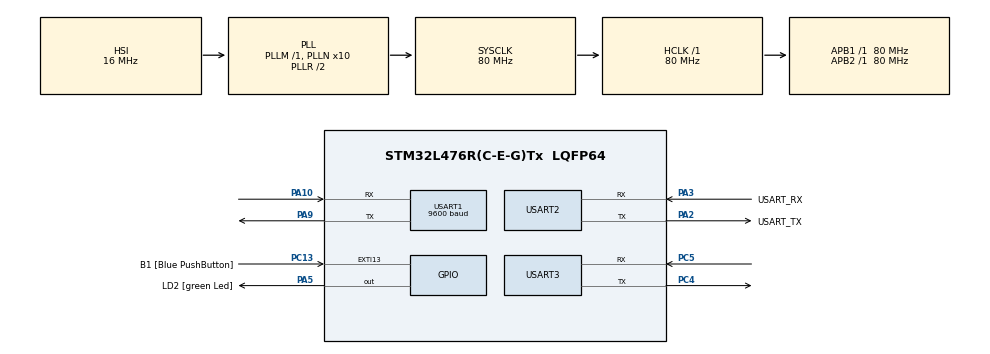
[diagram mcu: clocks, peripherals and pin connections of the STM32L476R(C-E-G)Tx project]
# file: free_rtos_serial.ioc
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FREERTOS.Tasks01=defaultTask,0,128,StartDefaultTask,Default,NULL,Dynamic,NULL,NULL
FREERTOS.configTOTAL_HEAP_SIZE=16384
FREERTOS.configUSE_NEWLIB_REENTRANT=1
Mcu.Family=STM32L4
Mcu.Name=STM32L476R(C-E-G)Tx
Mcu.Package=LQFP64
NVIC.PriorityGroup=NVIC_PRIORITYGROUP_4
NVIC.TIM1_UP_TIM16_IRQn=true\:15\:0\:false\:false\:true\:false\:false\:true\:true
NVIC.TimeBase=TIM1_UP_TIM16_IRQn
NVIC.TimeBaseIP=TIM1
NVIC.USART1_IRQn=true\:5\:0\:false\:false\:true\:true\:true\:true\:true
PA10.Mode=Asynchronous
PA10.Signal=USART1_RX
PA13\ (JTMS-SWDIO).GPIO_Label=TMS
PA13\ (JTMS-SWDIO).Mode=Serial_Wire
PA13\ (JTMS-SWDIO).Signal=SYS_JTMS-SWDIO
PA14\ (JTCK-SWCLK).GPIO_Label=TCK
PA14\ (JTCK-SWCLK).Mode=Serial_Wire
PA14\ (JTCK-SWCLK).Signal=SYS_JTCK-SWCLK
PA2.GPIO_Label=USART_TX
PA2.GPIO_Mode=GPIO_MODE_AF_PP
PA2.GPIO_PuPd=GPIO_NOPULL
PA2.GPIO_Speed=GPIO_SPEED_FREQ_VERY_HIGH
PA2.Mode=Asynchronous
PA2.Signal=USART2_TX
PA3.GPIO_Label=USART_RX
PA3.GPIO_Mode=GPIO_MODE_AF_PP
PA3.GPIO_PuPd=GPIO_NOPULL
PA3.GPIO_Speed=GPIO_SPEED_FREQ_VERY_HIGH
PA3.Mode=Asynchronous
PA3.Signal=USART2_RX
PA5.GPIO_Label=LD2 [green Led]
PA5.GPIO_ModeDefaultOutputPP=GPIO_MODE_OUTPUT_PP
PA5.GPIO_PuPd=GPIO_NOPULL
PA5.GPIO_Speed=GPIO_SPEED_FREQ_LOW
PA5.Signal=GPIO_Output
PA9.Mode=Asynchronous
PA9.Signal=USART1_TX
PB3\ (JTDO-TRACESWO).GPIO_Label=SWO
PB3\ (JTDO-TRACESWO).Signal=SYS_JTDO-SWO
PC13.GPIO_Label=B1 [Blue PushButton]
PC13.GPIO_ModeDefaultEXTI=GPIO_MODE_IT_FALLING
PC13.GPIO_PuPd=GPIO_NOPULL
PC13.Signal=GPXTI13
PC14-OSC32_IN\ (PC14).Mode=LSE-External-Oscillator
PC14-OSC32_IN\ (PC14).Signal=RCC_OSC32_IN
PC15-OSC32_OUT\ (PC15).Mode=LSE-External-Oscillator
PC15-OSC32_OUT\ (PC15).Signal=RCC_OSC32_OUT
PC4.Mode=Asynchronous
PC4.Signal=USART3_TX
PC5.Mode=Asynchronous
PC5.Signal=USART3_RX
PH0-OSC_IN\ (PH0).Signal=RCC_OSC_IN
PH1-OSC_OUT\ (PH1).Signal=RCC_OSC_OUT
ProjectManager.HeapSize=0x200
ProjectManager.StackSize=0x400
ProjectManager.TargetToolchain=STM32CubeIDE
RCC.ADCFreq_Value=64000000
RCC.AHBFreq_Value=80000000
RCC.APB1Freq_Value=80000000
RCC.APB1TimFreq_Value=80000000
RCC.APB2Freq_Value=80000000
RCC.APB2TimFreq_Value=80000000
RCC.CortexFreq_Value=80000000
RCC.HCLKFreq_Value=80000000
RCC.HSE_VALUE=8000000
RCC.HSI_VALUE=16000000
RCC.MSI_VALUE=4000000
RCC.PLLN=10
RCC.PLLSourceVirtual=RCC_PLLSOURCE_HSI
RCC.PREFETCH_ENABLE=1
RCC.SYSCLKFreq_VALUE=80000000
RCC.SYSCLKSource=RCC_SYSCLKSOURCE_PLLCLK
RCC.USBFreq_Value=64000000
RCC.VCOOutputFreq_Value=160000000
USART1.BaudRate=9600
USART1.VirtualMode-Asynchronous=VM_ASYNC
USART2.VirtualMode-Asynchronous=VM_ASYNC
USART3.VirtualMode-Asynchronous=VM_ASYNC
VP_FREERTOS_VS_CMSIS_V1.Mode=CMSIS_V1
VP_SYS_VS_tim1.Mode=TIM1
board=NUCLEO-L476RG

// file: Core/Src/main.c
/* USER CODE BEGIN Header */
/**
  ******************************************************************************
  * @file           : main.c
  * @brief          : Main program body
  ******************************************************************************
  * @attention
  *
  * Copyright (c) 2023 STMicroelectronics.
  * All rights reserved.
  *
  * This software is licensed under terms that can be found in the LICENSE file
  * in the root directory of this software component.
  * If no LICENSE file comes with this software, it is provided AS-IS.
  *
  ******************************************************************************
  */
/* USER CODE END Header */
#include "main.h"
#include "cmsis_os.h"
#include "usart.h"
#include "gpio.h"

void SystemClock_Config(void);
void MX_FREERTOS_Init(void);

int main(void)
{

  /* MCU Configuration--------------------------------------------------------*/

  /* Reset of all peripherals, Initializes the Flash interface and the Systick. */
  HAL_Init();

  /* Configure the system clock */
  SystemClock_Config();

  /* Initialize all configured peripherals */
  MX_GPIO_Init();
  MX_USART2_UART_Init();
  MX_USART1_UART_Init();
  MX_USART3_UART_Init();

  /* Call init function for freertos objects (in freertos.c) */
  MX_FREERTOS_Init();

  /* Start scheduler */
  osKernelStart();
  /* We should never get here as control is now taken by the scheduler */
  /* Infinite loop */
  while (1)
  {

  }
}

void SystemClock_Config(void)
{
  RCC_OscInitTypeDef RCC_OscInitStruct = {0};
  RCC_ClkInitTypeDef RCC_ClkInitStruct = {0};

  /** Configure the main internal regulator output voltage
  */
  if (HAL_PWREx_ControlVoltageScaling(PWR_REGULATOR_VOLTAGE_SCALE1) != HAL_OK)
  {
    Error_Handler();
  }

  /** Initializes the RCC Oscillators according to the specified parameters
  * in the RCC_OscInitTypeDef structure.
  */
  RCC_OscInitStruct.OscillatorType = RCC_OSCILLATORTYPE_HSI;
  RCC_OscInitStruct.HSIState = RCC_HSI_ON;
  RCC_OscInitStruct.HSICalibrationValue = RCC_HSICALIBRATION_DEFAULT;
  RCC_OscInitStruct.PLL.PLLState = RCC_PLL_ON;
  RCC_OscInitStruct.PLL.PLLSource = RCC_PLLSOURCE_HSI;
  RCC_OscInitStruct.PLL.PLLM = 1;
  RCC_OscInitStruct.PLL.PLLN = 10;
  RCC_OscInitStruct.PLL.PLLP = RCC_PLLP_DIV7;
  RCC_OscInitStruct.PLL.PLLQ = RCC_PLLQ_DIV2;
  RCC_OscInitStruct.PLL.PLLR = RCC_PLLR_DIV2;
  if (HAL_RCC_OscConfig(&RCC_OscInitStruct) != HAL_OK)
  {
    Error_Handler();
  }

  /** Initializes the CPU, AHB and APB buses clocks
  */
  RCC_ClkInitStruct.ClockType = RCC_CLOCKTYPE_HCLK|RCC_CLOCKTYPE_SYSCLK
                              |RCC_CLOCKTYPE_PCLK1|RCC_CLOCKTYPE_PCLK2;
  RCC_ClkInitStruct.SYSCLKSource = RCC_SYSCLKSOURCE_PLLCLK;
  RCC_ClkInitStruct.AHBCLKDivider = RCC_SYSCLK_DIV1;
  RCC_ClkInitStruct.APB1CLKDivider = RCC_HCLK_DIV1;
  RCC_ClkInitStruct.APB2CLKDivider = RCC_HCLK_DIV1;

  if (HAL_RCC_ClockConfig(&RCC_ClkInitStruct, FLASH_LATENCY_4) != HAL_OK)
  {
    Error_Handler();
  }
}

void HAL_TIM_PeriodElapsedCallback(TIM_HandleTypeDef *htim)
{
  if (htim->Instance == TIM1) {
    HAL_IncTick();
  }
}

void Error_Handler(void)
{
  __disable_irq();
  while (1)
  {
  }
}

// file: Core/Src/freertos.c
/* USER CODE BEGIN Header */
/**
  ******************************************************************************
  * File Name          : freertos.c
  * Description        : Code for freertos applications
  ******************************************************************************
  * @attention
  *
  * Copyright (c) 2023 STMicroelectronics.
  * All rights reserved.
  *
  * This software is licensed under terms that can be found in the LICENSE file
  * in the root directory of this software component.
  * If no LICENSE file comes with this software, it is provided AS-IS.
  *
  ******************************************************************************
  */
/* USER CODE END Header */

#include "FreeRTOS.h"
#include "task.h"
#include "main.h"
#include "cmsis_os.h"

/* USER CODE BEGIN Includes */
#include <stdio.h>
#include <stdlib.h>
#include <string.h>
#include "usart.h"
#include "gpio.h"
#include "gps.h"

#include "uartRingBuffer.h"
#include "NMEA.h"
/* USER CODE END Includes */

/* USER CODE BEGIN PD */
#define uart &huart1

#define TIMEOUT_DEF 500  // 500ms timeout for the functions
uint16_t timeout;
/* USER CODE END PD */

/* USER CODE BEGIN Variables */
uint8_t rx_data = 0;
uint8_t rx_buffer[GPSBUFSIZE];
uint8_t rx_index = 0;

GPSSTRUCT gpsData;

int flagGGA = 0, flagRMC = 0;
char nodeMCUBuffer [30];

int gpsEnabled = 0;

int VCCTimeout = 5000; // GGA or RMC will not be received if the VCC is not sufficient
/* USER CODE END Variables */
osThreadId defaultTaskHandle;

/* USER CODE BEGIN FunctionPrototypes */

char* int_to_string(int num) {

    char* str = malloc(sizeof(char)*4);

    sprintf(str, "%d\n\r", num);

    return str;

}

char* float_to_string(float num) {

    char* str = malloc(sizeof(char)*4);

    sprintf(str, "%f\n\r", num);

    return str;

}

void sendString(char * str, int uart_number){
	if(uart_number == 1)
		HAL_UART_Transmit(&huart1, (uint8_t *)str, strlen(str) ,HAL_MAX_DELAY );
	else if(uart_number == 2)
		HAL_UART_Transmit(&huart2, (uint8_t *)str, strlen(str) ,HAL_MAX_DELAY );
	else if(uart_number == 3)
		HAL_UART_Transmit(&huart3, (uint8_t *)str, strlen(str) ,HAL_MAX_DELAY );
}

void sendChar(unsigned char c, int uart_number){
	unsigned char pChar = c;
	if(uart_number == 1)
		HAL_UART_Transmit(&huart1, &pChar,1 ,HAL_MAX_DELAY );
	else if(uart_number == 2)
		HAL_UART_Transmit(&huart2, &pChar, 1,HAL_MAX_DELAY );
	else if(uart_number == 3)
		HAL_UART_Transmit(&huart3, &pChar, 1,HAL_MAX_DELAY );
}

char readChar(int uart_number){
	unsigned char caracter;

	if(uart_number == 1){
		while(HAL_UART_Receive(&huart1, &caracter, 1, HAL_MAX_DELAY) != HAL_OK);
	}
	else if(uart_number == 2){
		while(HAL_UART_Receive(&huart2, &caracter, 1, HAL_MAX_DELAY) != HAL_OK);
	}
	else if(uart_number == 3){
		while(HAL_UART_Receive(&huart3, &caracter, 1, HAL_MAX_DELAY) != HAL_OK);
	}
	return caracter;
}

void test_task( void *vParam){

	char *places[4] = {"-20.7000000,-45.3666667,\n", "-5.9500000,-43.0000000,\n",
			"-17.4333333,-44.8500000,\n", "3.7500000,-61.3500000,\n"};

	while(1){

		for (int i = 0; i < 4; i++) {

			if (gpsEnabled == 1) {

				sendString(places[i], 3);

			}

			vTaskDelay(3000);

		}

	}

}

void recebe_da_node_mcu(void *vParam){
	unsigned char caracter;
	vTaskDelay(100);
	while(1){
		//Aguarda receber um caracter da UART3 que esta conectada ao Node MCU
		while(HAL_UART_Receive(&huart3, &caracter, 1, HAL_MAX_DELAY) != HAL_OK);

		//Envia o caracter recebido para a UART 2 que está conectada ao terminal serial
		sendChar(caracter, 2);
		vTaskDelay(1);
	}
}

void envia_para_node_mcu( void *vParam){
	unsigned char caracter;

	while(1){
		//Aguarda receber um carcater do terminal serial
		caracter = readChar(2);
		//Envia o caracter para a UART 3 que está conectada a placa NodeMCU
		sendChar(caracter, 3);
		vTaskDelay(1);
	}
}

int GPS_validate(char *nmeastr){
    char check[3];
    char checkcalcstr[3];
    int i;
    int calculated_check;

    i=0;
    calculated_check=0;

    // check to ensure that the string starts with a $
    if(nmeastr[i] == '$')
        i++;
    else
        return 0;

    //No NULL reached, 75 char largest possible NMEA message, no '*' reached
    while((nmeastr[i] != 0) && (nmeastr[i] != '*') && (i < 75)){
        calculated_check ^= nmeastr[i];// calculate the checksum
        i++;
    }

    if(i >= 75){
        return 0;// the string was too long so return an error
    }

    if (nmeastr[i] == '*'){
        check[0] = nmeastr[i+1];    //put hex chars in check string
        check[1] = nmeastr[i+2];
        check[2] = 0;
    }
    else
        return 0;// no checksum separator found there for invalid

    sprintf(checkcalcstr,"%02X",calculated_check);
    return((checkcalcstr[0] == check[0])
        && (checkcalcstr[1] == check[1])) ? 1 : 0 ;
}

float GPS_nmea_to_dec(float deg_coord, char nsew) {
    int degree = (int)(deg_coord/100);
    float minutes = deg_coord - degree*100;
    float dec_deg = minutes / 60;
    float decimal = degree + dec_deg;
    if (nsew == 'S' || nsew == 'W') { // return negative
        decimal *= -1;
    }
    return decimal;
}

void GPS_parse(char *GPSstrParse){
    if(!strncmp(GPSstrParse, "$GPGGA", 6)){
//    	sendString("$GPGGA",2);
		VCCTimeout = 5000;  // Reset the VCC Timeout indicating the GGA is being received

//		Copy_upto("*", GGA);
		if (decodeGGA(GPSstrParse, &gpsData.ggastruct) == 0) flagGGA = 2;  // 2 indicates the data is valid
		else flagGGA = 1;  // 1 indicates the data is invalid
    }
    else if (!strncmp(GPSstrParse, "$GPRMC", 6)){
//    	sendString("$GPRMC",2);
		VCCTimeout = 5000;  // Reset the VCC Timeout indicating the RMC is being received

//		Copy_upto("*", RMC);
		if (decodeRMC(GPSstrParse, &gpsData.rmcstruct) == 0) flagRMC = 2;  // 2 indicates the data is valid
		else flagRMC = 1;  // 1 indicates the data is invalid
    }
}

void cli(void * vParam)
{
	while(1)
	{
//		0xFFFFFFFFU
//		sendChar('f', 2);
		while(HAL_UART_Receive(&huart1, &rx_data, 1, HAL_MAX_DELAY) != HAL_OK);
//		sendChar(rx_data, 2);
		if (rx_data != '\n' && rx_index < sizeof(rx_buffer)) {
			rx_buffer[rx_index++] = rx_data;
		} else {

			#if (GPS_DEBUG == 1)
			GPS_print((char*)rx_buffer);
			#endif

			if(GPS_validate((char*) rx_buffer)) {
				GPS_parse((char*) rx_buffer);
			}

			rx_index = 0;
			memset(rx_buffer, 0, sizeof(rx_buffer));
		}

		if ((flagGGA == 2) | (flagRMC == 2))
		{
			if (gpsEnabled == 1) {
				sprintf(nodeMCUBuffer,"%f,%f,\n", gpsData.ggastruct.lcation.latitude, gpsData.ggastruct.lcation.longitude);
				sendString(nodeMCUBuffer, 3);
			}

		}

		else if ((flagGGA == 1) | (flagRMC == 1))
		{
		  // Instead of clearing the display, it's better if we print spaces.
		  // This will avoid the "refreshing" part
		  sendString("   NO FIX YET   \n\r", 2);
		  sendString("   Please wait  \n\r", 2);
		}

		if (VCCTimeout <= 0)
		{
		  VCCTimeout = 5000;  // Reset the timeout

		  //reset flags
		  flagGGA =flagRMC =0;

		  // You are here means the VCC is less, or maybe there is some connection issue
		  // Check the VCC, also you can try connecting to the external 5V
		  sendString("    VCC Issue   \n\r",2);
		  sendString("Check Connection\n\r",2);
		}

//		vTaskDelay(500);
	}
}

void gpsEnabled_task(void * vParam)
{
	unsigned char flag;
	vTaskDelay(100);
	while(1){
		//Aguarda receber um caracter da UART3 que esta conectada ao Node MCU
		while(HAL_UART_Receive(&huart3, &flag, 1, HAL_MAX_DELAY) != HAL_OK);

		if (flag == '1') {
			gpsEnabled = 1;
			sendChar('v', 2);
		} else {
			gpsEnabled = 0;
			sendChar('f', 2);
		}

		vTaskDelay(1);
	}
}

/* USER CODE END FunctionPrototypes */

void StartDefaultTask(void const * argument);

void MX_FREERTOS_Init(void); /* (MISRA C 2004 rule 8.1) */

/* GetIdleTaskMemory prototype (linked to static allocation support) */
void vApplicationGetIdleTaskMemory( StaticTask_t **ppxIdleTaskTCBBuffer, StackType_t **ppxIdleTaskStackBuffer, uint32_t *pulIdleTaskStackSize );

/* USER CODE BEGIN GET_IDLE_TASK_MEMORY */
static StaticTask_t xIdleTaskTCBBuffer;
static StackType_t xIdleStack[configMINIMAL_STACK_SIZE];

void vApplicationGetIdleTaskMemory( StaticTask_t **ppxIdleTaskTCBBuffer, StackType_t **ppxIdleTaskStackBuffer, uint32_t *pulIdleTaskStackSize )
{
  *ppxIdleTaskTCBBuffer = &xIdleTaskTCBBuffer;
  *ppxIdleTaskStackBuffer = &xIdleStack[0];
  *pulIdleTaskStackSize = configMINIMAL_STACK_SIZE;
  /* place for user code */
}
/* USER CODE END GET_IDLE_TASK_MEMORY */

void MX_FREERTOS_Init(void) {

  /* Create the thread(s) */
  /* definition and creation of defaultTask */
  osThreadDef(defaultTask, StartDefaultTask, osPriorityNormal, 0, 128);
  defaultTaskHandle = osThreadCreate(osThread(defaultTask), NULL);

  /* USER CODE BEGIN RTOS_THREADS */
  /* add threads, ... */
//  xTaskCreate(cli,
//		  "serialRcvr",
//		  configMINIMAL_STACK_SIZE,
//		  NULL,
//		  1,
//		  NULL);

//  xTaskCreate(recebe_da_node_mcu, "recebe_da_node_mcu",
//		  configMINIMAL_STACK_SIZE,
//		  NULL, 1,
//		  NULL);
//
//  xTaskCreate(envia_para_node_mcu, "envia_para_node_mcu",
//		  configMINIMAL_STACK_SIZE,
//		  NULL, 1,
//		  NULL);

  xTaskCreate(test_task, "test_task",
		  configMINIMAL_STACK_SIZE,
		  NULL, 1,
		  NULL);

  xTaskCreate(gpsEnabled_task, "gpsEnabled_task",
		  configMINIMAL_STACK_SIZE,
		  NULL, 1,
		  NULL);
  /* USER CODE END RTOS_THREADS */

}

void StartDefaultTask(void const * argument)
{
  for(;;)
  {
    osDelay(1);
  }
}
